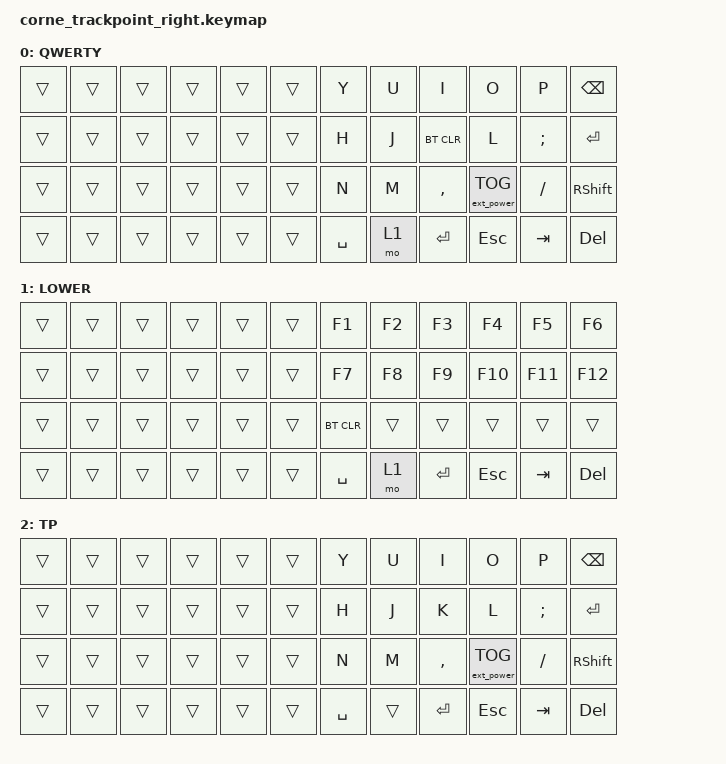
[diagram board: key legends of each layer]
#include <behaviors.dtsi>
#include <dt-bindings/zmk/keys.h>
#include <dt-bindings/zmk/bt.h>
#include <dt-bindings/zmk/mouse.h>
#include <dt-bindings/zmk/ext_power.h>

/ {
    keymap {
        compatible = "zmk,keymap";

        default_layer {
            display-name = "QWERTY";
            bindings = <
    &trans &trans &trans &trans &trans &trans   &kp Y &kp U   &kp I   &kp O     &kp P     &kp BSPC
    &trans &trans &trans &trans &trans &trans       &kp H &kp J   &bt BT_CLR   &kp L     &kp SEMI  &kp RET
    &trans &trans &trans &trans &trans &trans   &kp N &kp M   &kp COMMA &ext_power EP_TOG  &kp FSLH  &kp RSHFT
    &trans &trans &trans &trans &trans &trans   &kp SPACE &mo 1  &kp RET  &kp ESC  &kp TAB   &kp DEL
            >;
        };

        lower_layer {
            display-name = "LOWER";
            bindings = <
    &trans &trans &trans &trans &trans &trans   &kp F1 &kp F2  &kp F3  &kp F4  &kp F5  &kp F6
    &trans &trans &trans &trans &trans &trans   &kp F7 &kp F8  &kp F9  &kp F10 &kp F11 &kp F12
    &trans &trans &trans &trans &trans &trans   &bt BT_CLR &trans &trans &trans &trans &trans
    &trans &trans &trans &trans &trans &trans   &kp SPACE &mo 1 &kp RET &kp ESC &kp TAB &kp DEL
            >;
        };

        tp_layer {
            display-name = "TP";
            bindings = <
    &trans &trans &trans &trans &trans &trans   &kp Y &kp U   &kp I   &kp O     &kp P     &kp BSPC
    &trans &trans &trans &trans &trans &trans   &kp H &kp J   &kp K   &kp L     &kp SEMI  &kp RET
    &trans &trans &trans &trans &trans &trans   &kp N &kp M   &kp COMMA &ext_power EP_TOG  &kp FSLH  &kp RSHFT
    &trans &trans &trans &trans &trans &trans   &kp SPACE &trans &kp RET &kp ESC  &kp TAB   &kp DEL
            >;
        };
    };
};
